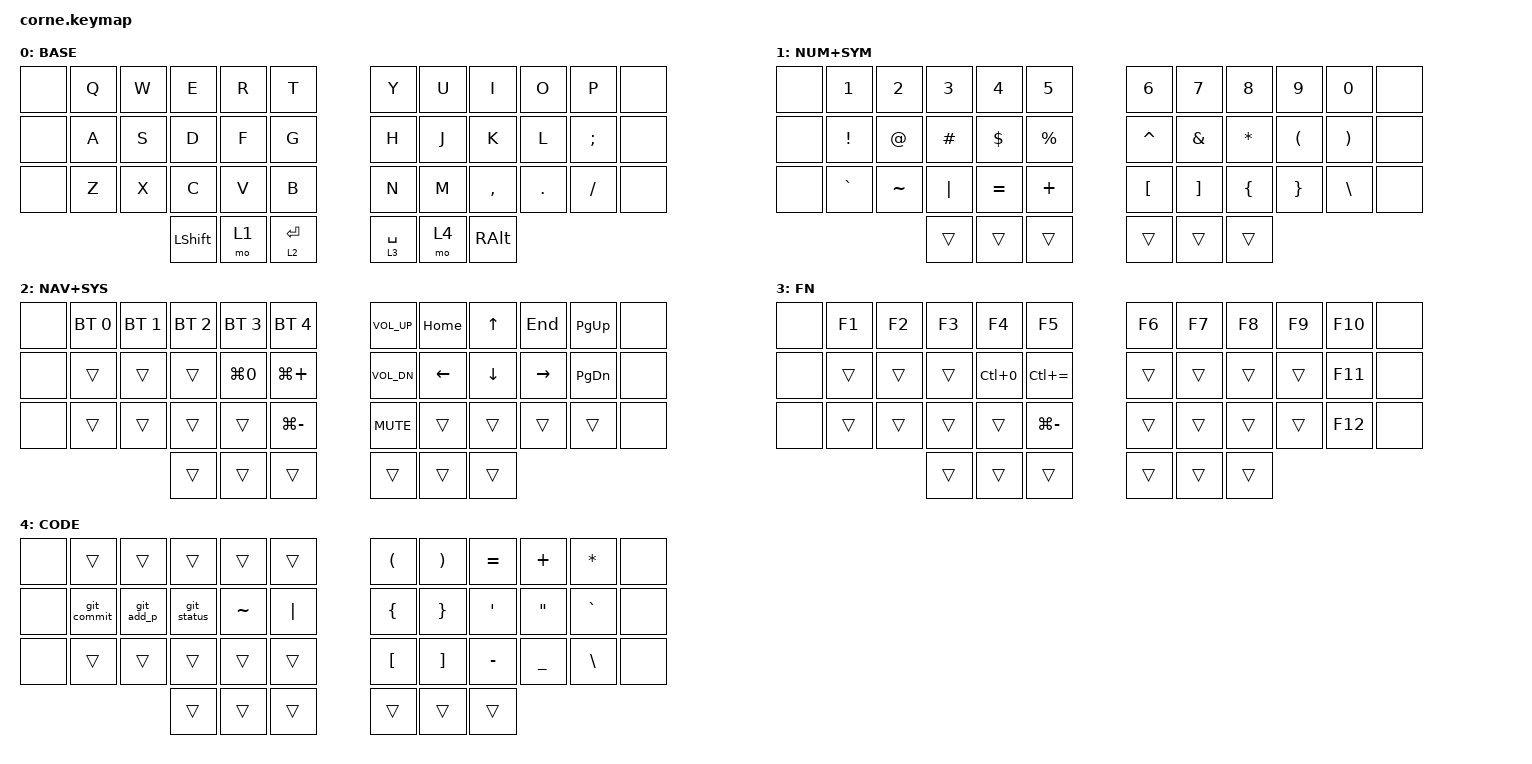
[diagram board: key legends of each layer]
#include <behaviors.dtsi>
#include <dt-bindings/zmk/bt.h>
#include <dt-bindings/zmk/keys.h>

&led_strip {
    chain-length = <0>;

    // chain-length = <27>;
    // 21 backlight + 6 glowlight
};

#define TAPPING_TERM 200

/ {
    behaviors {
        /*
    * td_lock groups locking functions into one key:
    *  - tap once to lock the host
    *  - tap twice to put the host to sleep
    */

        td_lock: tap_dance_lock {
            compatible = "zmk,behavior-tap-dance";
            label = "TAP_DANCE_LOCK";
            #binding-cells = <0>;
            tapping-term-ms = <TAPPING_TERM>;
            bindings = <&kp LG(LC(Q))>, <&kp LG(LA(C_EJECT))>;
        };
    };

    combos {
        compatible = "zmk,combos";

        Clear_BLE_Profile {
            bindings = <&bt BT_CLR>;
            key-positions = <38 5 1>;
        };

        Space {
            bindings = <&kp SPACE>;
            key-positions = <28 27 26>;
        };

        Enter {
            bindings = <&kp ENTER>;
            key-positions = <16 15 14>;
        };

        Capslock {
            bindings = <&kp CLCK>;
            key-positions = <17 18>;
        };

        Tab {
            bindings = <&kp TAB>;
            key-positions = <3 4>;
        };

        Shift-Tab {
            bindings = <&kp LS(TAB)>;
            key-positions = <3 2>;
        };

        Backspace {
            bindings = <&kp BACKSPACE>;
            key-positions = <7 8>;
        };

        Command-Right {
            bindings = <&kp RGUI>;
            key-positions = <19 20>;
        };

        Control-Right {
            bindings = <&kp RCTRL>;
            key-positions = <31 32>;
        };

        Command-Left {
            bindings = <&kp LGUI>;
            key-positions = <15 16>;
        };

        Control-Left {
            bindings = <&kp LEFT_CONTROL>;
            key-positions = <27 28>;
        };

        Lock-Screen {
            bindings = <&kp LG(LC(Q))>;
            key-positions = <9 10>;
        };

        Escape {
            bindings = <&kp ESCAPE>;
            key-positions = <1 2>;
        };

        Mute {
            bindings = <&kp K_MUTE>;
            key-positions = <5 6>;
        };

        Screenshot {
            bindings = <&kp LS(LG(NUMBER_4))>;
            key-positions = <25 26>;
        };
    };

    macros {
        git_status: git_status {
            compatible = "zmk,behavior-macro";
            #binding-cells = <0>;
            bindings = <&kp G &kp I &kp T &kp SPACE &kp S &kp T &kp A &kp T &kp U &kp S &kp ENTER>;
            label = "GIT_STATUS";
        };

        git_add_p: git_add_p {
            compatible = "zmk,behavior-macro";
            #binding-cells = <0>;
            bindings = <&kp G &kp I &kp T &kp SPACE &kp A &kp D &kp D &kp SPACE &kp MINUS &kp P &kp ENTER>;
            label = "GIT_ADD_P";
        };

        git_commit: git_commit {
            compatible = "zmk,behavior-macro";
            #binding-cells = <0>;
            bindings = <&kp G &kp I &kp T &kp SPACE &kp C &kp O &kp M &kp M &kp I &kp T &kp RET>;
            label = "GIT_COMMIT";
        };
    };

    keymap {
        compatible = "zmk,keymap";

        Base {
            label = "BASE";
            bindings = <
&none  &kp Q  &kp W  &kp E           &kp R  &kp T          &kp Y        &kp U  &kp I          &kp O    &kp P      &none
&none  &kp A  &kp S  &kp D           &kp F  &kp G          &kp H        &kp J  &kp K          &kp L    &kp SEMI   &none
&none  &kp Z  &kp X  &kp C           &kp V  &kp B          &kp N        &kp M  &kp COMMA      &kp DOT  &kp SLASH  &none
                     &kp LEFT_SHIFT  &mo 1  &lt 2 ENTER    &lt 3 SPACE  &mo 4  &kp RIGHT_ALT
            >;
        };

        Numbers-Symbols {
            label = "NUM+SYM";
            bindings = <
&none  &kp N1     &kp N2     &kp N3    &kp N4     &kp N5       &kp N6            &kp N7             &kp N8          &kp N9           &kp N0         &none
&none  &kp EXCL   &kp AT     &kp HASH  &kp DLLR   &kp PRCNT    &kp CARET         &kp AMPS           &kp ASTERISK    &kp LPAR         &kp RPAR       &none
&none  &kp GRAVE  &kp TILDE  &kp PIPE  &kp EQUAL  &kp PLUS     &kp LEFT_BRACKET  &kp RIGHT_BRACKET  &kp LEFT_BRACE  &kp RIGHT_BRACE  &kp BACKSLASH  &none
                             &trans    &trans     &trans       &trans            &trans             &trans
            >;
        };

        Navigation+System {
            label = "NAV+SYS";
            bindings = <
&none  &bt BT_SEL 0  &bt BT_SEL 1  &bt BT_SEL 2  &bt BT_SEL 3      &bt BT_SEL 4     &kp C_VOL_UP  &kp HOME  &kp UP_ARROW  &kp END    &kp PAGE_UP    &none
&none  &trans        &trans        &trans        &kp LG(NUMBER_0)  &kp LG(PLUS)     &kp C_VOL_DN  &kp LEFT  &kp DOWN      &kp RIGHT  &kp PAGE_DOWN  &none
&none  &trans        &trans        &trans        &trans            &kp LG(MINUS)    &kp K_MUTE    &trans    &trans        &trans     &trans         &none
                                   &trans        &trans            &trans           &trans        &trans    &trans
            >;
        };

        Functions {
            label = "FN";
            bindings = <
&none  &kp F1  &kp F2  &kp F3  &kp F4            &kp F5           &kp F6  &kp F7  &kp F8  &kp F9  &kp F10  &none
&none  &trans  &trans  &trans  &kp LC(NUMBER_0)  &kp LC(EQUAL)    &trans  &trans  &trans  &trans  &kp F11  &none
&none  &trans  &trans  &trans  &trans            &kp LG(MINUS)    &trans  &trans  &trans  &trans  &kp F12  &none
                       &trans  &trans            &trans           &trans  &trans  &trans
            >;
        };

        Coding {
            bindings = <
&none  &trans       &trans      &trans       &trans     &trans      &kp LEFT_PARENTHESIS  &kp RIGHT_PARENTHESIS  &kp EQUAL  &kp PLUS           &kp ASTRK      &none
&none  &git_commit  &git_add_p  &git_status  &kp TILDE  &kp PIPE    &kp LEFT_BRACE        &kp RIGHT_BRACE        &kp SQT    &kp DOUBLE_QUOTES  &kp GRAVE      &none
&none  &trans       &trans      &trans       &trans     &trans      &kp LEFT_BRACKET      &kp RIGHT_BRACKET      &kp MINUS  &kp UNDER          &kp BACKSLASH  &none
                                &trans       &trans     &trans      &trans                &trans                 &trans
            >;

            label = "CODE";
        };
    };

    conditional_layers { compatible = "zmk,conditional-layers"; };
};
